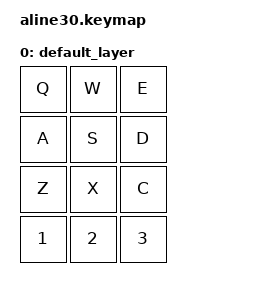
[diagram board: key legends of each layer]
#include <behaviors.dtsi>
#include <dt-bindings/zmk/keys.h>

/ {
    keymap {
        compatible = "zmk,keymap";

        default_layer {
            bindings = <
                &kp Q &kp W &kp E
                &kp A &kp S &kp D
                &kp Z &kp X &kp C
                &kp 1 &kp 2 &kp 3
            >;
        };
    };
};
